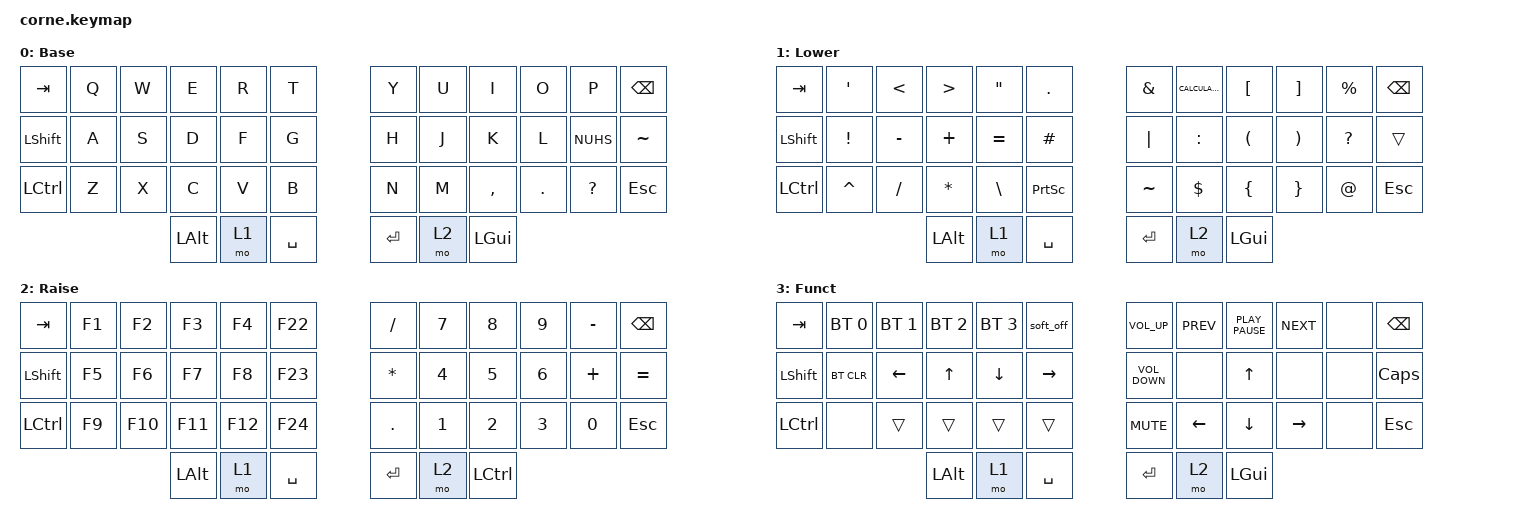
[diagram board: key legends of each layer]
/*
 * Copyright (c) 2020 The ZMK Contributors
 *
 * SPDX-License-Identifier: MIT
 */

#include <behaviors.dtsi>
#include <dt-bindings/zmk/keys.h>
#include <dt-bindings/zmk/bt.h>
//#include <dt-bindings/zmk/mouse.h>

#define Base 0
#define Lower 1
#define Raise 2
#define Funct 3

/ {
    conditional_layers {
        compatible = "zmk,conditional-layers";
        tri_layer {
            if-layers = <1 2>;
            then-layer = <3>;
        };
    };
};

/ {
    keymap {
        compatible = "zmk,keymap";

        default_layer {
			label ="Base";
            bindings = <
&kp TAB    &kp Q  &kp W  &kp E     &kp R  &kp T        &kp Y      &kp U  &kp I      &kp O    &kp P      &kp BSPC
&kp LSHFT  &kp A  &kp S  &kp D     &kp F  &kp G        &kp H      &kp J  &kp K      &kp L    &kp NUHS   &kp TILDE
&kp LCTRL  &kp Z  &kp X  &kp C     &kp V  &kp B        &kp N      &kp M  &kp COMMA  &kp DOT  &kp QMARK  &kp ESC
                         &kp LALT  &mo 1  &kp SPACE    &kp ENTER  &mo 2  &kp LGUI
            >;
        };

        lower_layer {
			label = "Lower";
            bindings = <
&kp TAB    &kp SQT    &kp LESS_THAN  &kp GREATER_THAN  &kp DOUBLE_QUOTES  &kp DOT            &kp AMPERSAND  &kp K_CALCULATOR  &kp LBKT              &kp RBKT               &kp PERCENT   &kp BSPC
&kp LSHFT  &kp EXCL   &kp MINUS      &kp PLUS          &kp EQUAL          &kp HASH           &kp PIPE       &kp COLON         &kp LEFT_PARENTHESIS  &kp RIGHT_PARENTHESIS  &kp QUESTION  &trans
&kp LCTRL  &kp CARET  &kp FSLH       &kp STAR          &kp BACKSLASH      &kp PRINTSCREEN    &kp TILDE      &kp DOLLAR        &kp LEFT_BRACE        &kp RIGHT_BRACE        &kp AT        &kp ESC
                                     &kp LALT          &mo 1              &kp SPACE          &kp ENTER      &mo 2             &kp LGUI
            >;
        };

        raise_layer {
			label = "Raise";
            bindings = <
&kp TAB    &kp F1  &kp F2   &kp F3    &kp F4   &kp F22    &kp FSLH   &kp N7  &kp N8     &kp N9  &kp MINUS  &kp BSPC
&kp LSHFT  &kp F5  &kp F6   &kp F7    &kp F8   &kp F23    &kp STAR   &kp N4  &kp N5     &kp N6  &kp PLUS   &kp EQUAL
&kp LCTRL  &kp F9  &kp F10  &kp F11   &kp F12  &kp F24    &kp DOT    &kp N1  &kp N2     &kp N3  &kp N0     &kp ESC
                            &kp LALT  &mo 1    &kp SPACE  &kp ENTER  &mo 2  &kp LCTRL
            >;
        };

        funct_layer {
			label = "Funct";
            bindings = <
&kp TAB    &bt BT_SEL 0  &bt BT_SEL 1    &bt BT_SEL 2  &bt BT_SEL 3    &soft_off       		  &kp C_VOLUME_UP    &kp K_PREV      &kp K_PLAY_PAUSE  &kp K_NEXT      	&none  &kp BSPC
&kp LSHFT  &bt BT_CLR    &kp LEFT	 &kp UP	       &kp DOWN        &kp RIGHT        	  &kp C_VOLUME_DOWN  &none           &kp UP	       &none       	&none  &kp CAPSLOCK
&kp LCTRL  &none         &trans		 &trans	       &trans	       &trans		 	  &kp K_MUTE         &kp LEFT	     &kp DOWN	       &kp RIGHT	&none  &kp ESC
                                         &kp LALT      &mo 1           &kp SPACE          &kp ENTER          &mo 2           &kp LGUI
            >;
        };
    };
};
